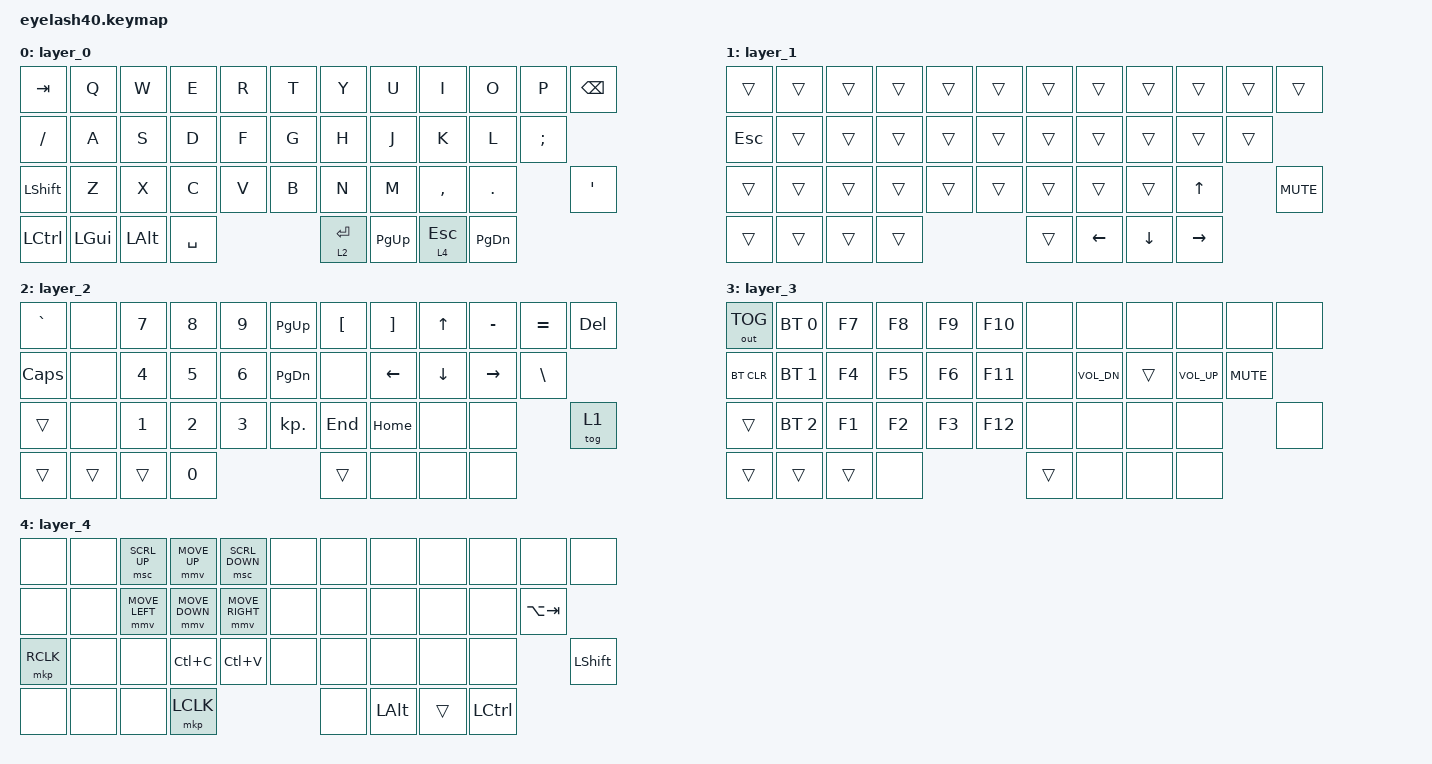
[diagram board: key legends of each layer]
/*
 * SPDX-License-Identifier: MIT
 */

// 调整鼠标移动的最大速度（默认值通常是 600）
 #define ZMK_POINTING_DEFAULT_MOVE_VAL 600

// 调整滚轮滚动的最大速度（默认值通常是 10）
 #define ZMK_POINTING_DEFAULT_SCRL_VAL 20

#include <behaviors.dtsi>
#include <dt-bindings/zmk/keys.h>
#include <dt-bindings/zmk/bt.h>
#include <dt-bindings/zmk/outputs.h>
#include <dt-bindings/zmk/pointing.h>

/ {
    behaviors {
        ltq: ltq {
    compatible = "zmk,behavior-hold-tap";
    label = "LTQ";
    bindings = <&mo>, <&kp>;
    #binding-cells = <2>;
    tapping-term-ms = <200>;
    quick-tap-ms = <180>;
    require-prior-idle-ms = <125>; // 快速打字时立即判定为点按
        };
    };

    combos {
        compatible = "zmk,combos";
        combo_0 {
            timeout-ms = <70>; // 按下的时间差需在70ms内
            key-positions = <12 23 34>; // 键盘上三个键的实际位置编号
            bindings = <&kp LC(LS(ESC))>;
            layers = <0>;
        };
        combo_1 {
            timeout-ms = <70>; 
            key-positions = <20 38>; 
            bindings = <&mo 3>;
            layers = <0 1>;
        };
        combo_2 {
            timeout-ms = <70>; 
            key-positions = <0 12>; 
            bindings = <&kp ESC>;
            layers = <0 1>;
        };
    };

        keymap {
                compatible = "zmk,keymap";

                layer_0 {
// -------------------------------------------------------------------------------------
// | TAB |  Q  |  W  |  E  |  R  |  T  |  Y  |  U   |  I  |  O  |  P  | BSPC |
// |    /  |  A  |  S  |  D  |  F  |  G  |  H  |  J   |  K  |  L  |    ;     |
// |   SHIFT   |  Z  |  X  |  C  |  V  |  B  |  N  |  M   |  ,  |  .  |   “   |
// | CTRL | GUI | ALT |        SPACE      |   ENTER(MO2) | PG_UP | ESC(MO4) | PG_DN |
                        bindings = <
    &kp TAB    &kp Q    &kp W    &kp E    &kp R    &kp T    &kp Y    &kp U    &kp I    &kp O    &kp P    &kp BSPC
    &kp SLASH  &kp A    &kp S    &kp D    &kp F    &kp G    &kp H    &kp J    &kp K    &kp L    &kp SEMI
    &kp LSHIFT  &kp Z    &kp X    &kp C    &kp V    &kp B    &kp N    &kp M    &kp COMMA  &kp DOT    &kp SQT
    &kp LCTRL  &kp LGUI  &kp LALT  &kp SPACE  &ltq 2 ENTER  &kp PG_UP  &ltq 4 ESC  &kp PG_DN
                        >;
                };

                layer_1 {
// ------------------------------------------------------------------------------------
// |     |     |     |     |     |     |     |      |     |     |     |      |
// |  ESC  |     |     |     |     |     |     |      |     |     |          |
// |     |     |     |     |     |     |     |      |     | UP |  MUTE |
// |     |     |     |               |               |  LEFT  |DOWN| RIGHT   |
                        bindings = <
&trans    &trans   &trans    &trans    &trans    &trans    &trans    &trans    &trans    &trans    &trans    &trans
    &kp ESC  &trans    &trans    &trans    &trans    &trans    &trans    &trans    &trans    &trans    &trans
    &trans  &trans    &trans    &trans    &trans    &trans    &trans    &trans    &trans  &kp UP    &kp C_MUTE
    &trans  &trans  &trans  &trans  &trans  &kp LEFT  &kp DOWN  &kp RIGHT
                        >;
                };

                layer_2 {
// ----------------------------------------------------------------------------
// |  `  | NONE |  7  |  8  |  9  | PG_UP |  [   |  ]  |  UP  |  -  |  =  | DEL  |
// |   CAP |NONE |  4  |  5  |  6  |PG_DN| NONE | LEFT  |DOWN| RIGHT |    \    |
// |    |NONE |  1  |  2  |  3  |  .  |END| HOME |NONE |NONE| Tog（1） |
// |     |     |    |       0       |               | NONE  | NONE| NONE    |
                        bindings = <
   &kp GRAVE  &none     &kp N7  &kp N8  &kp N9  &kp PG_UP      &kp LBKT  &kp RBKT    &kp UP     &kp MINUS    &kp EQUAL    &kp DEL
    &kp CAPS  &none     &kp N4  &kp N5  &kp N6  &kp PG_DN      &none  &kp LEFT  &kp DOWN  &kp RIGHT    &kp BSLH
    &trans   &none     &kp N1  &kp N2  &kp N3  &kp KP_DOT  &kp END &kp HOME   &none     &none    &tog 1
    &trans  &trans  &trans  &kp N0  &trans     &none  &none   &none
                        >;
                };

                layer_3 {
// -----------------------------------------------------------------------------------------
// | USB/BT | BT1 | F7 | F8 |  F9  | F10  | NONE | NONE|  NONE| NONE | NONE |  NONE  |
// |   BT_CLR   | BT2 | F4 | F5 |  F6  |   F11   | NONE | SD_DN |    | SD_UP  | MUTE |
// |      |  BT3  |  F1  |  F2  | F3  | F12  |NONE | NONE | NONE  | NONE | NONE |
// |    |     |    |       NONE        |               |  NONE | NONE | NONE |
                        bindings = <
   &out OUT_TOG  &bt BT_SEL 0  &kp F7  &kp F8  &kp F9  &kp F10      &none  &none  &none  &none  &none &none
   &bt BT_CLR   &bt BT_SEL 1  &kp F4  &kp F5  &kp F6  &kp F11      &none  &kp C_VOL_DN  &trans  &kp C_VOL_UP  &kp C_MUTE
   &trans      &bt BT_SEL 2  &kp F1  &kp F2  &kp F3  &kp F12      &none  &none  &none  &none   &none
  &trans  &trans  &trans  &none  &trans     &none  &none  &none
                        >;
                };

                layer_4 {
// -------------------------------------------------------------------------------------
// |NONE|NONE| SCRL_UP |  R  |SCRL_DN|NONE|NONE|NONE|NONE|NONE|NONE|NONE|
// |NONE|NONE|  S  |  D  |  F  |NONE|NONE|NONE|NONE|NONE|ALT＋TAB|
// |  RCLK |NONE|NONE|copy|paste|NONE|NONE|NONE|NONE|NONE|SHIFT|
// |NONE|NONE|NONE|  LCLK    |NONE| ALT |    |CTRL|
                        bindings = <
    &none  &none  &msc SCRL_UP  &mmv MOVE_UP  &msc SCRL_DOWN  &none        &none  &none  &none  &none  &none  &none
    &none  &none  &mmv MOVE_LEFT  &mmv MOVE_DOWN  &mmv MOVE_RIGHT  &none        &none  &none  &none  &none  &kp LA(TAB)
    &mkp RCLK  &none  &none  &kp LC(C) &kp LC(V)  &none        &none  &none  &none  &none  &kp LSHIFT
    &none  &none  &none  &mkp LCLK  &none  &kp LALT  &trans   &kp LCTRL
                        >;
                };
        };
};
